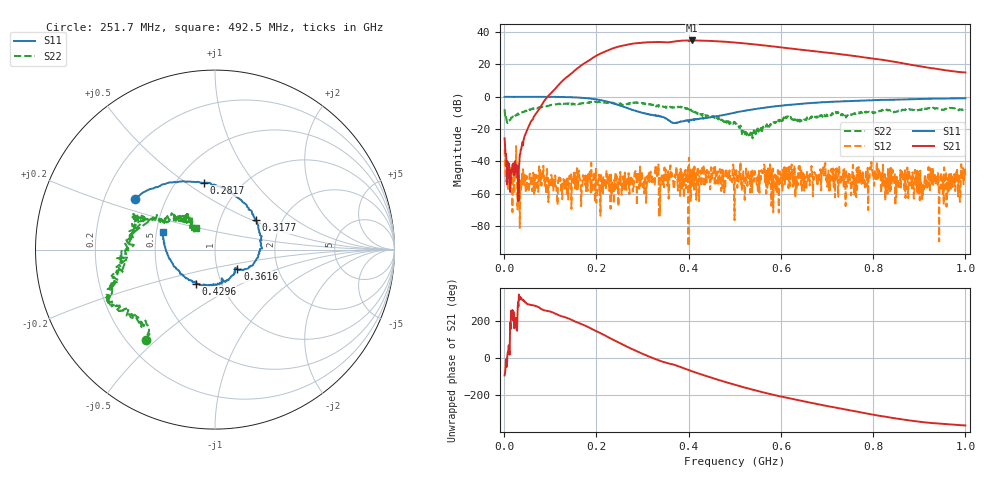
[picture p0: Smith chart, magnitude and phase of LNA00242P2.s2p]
! Created with skrf 1.9.0 (http://scikit-rf.org).
# Hz S RI R 50.0
!freq ReS11 ImS11 ReS21 ImS21 ReS12 ImS12 ReS22 ImS22
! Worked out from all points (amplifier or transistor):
!   1001 points, 1 MHz to 1 GHz, reference 50 ohm
!   highest |S21| = 34.9 dB at 406.6 MHz (marker M1)
!   |S21| within 3 dB of that: 260.5 MHz to 561.3 MHz (300.8 MHz wide, 73.2 % of centre)
!   unconditionally stable (mu >= 1): start of sweep to 75.72 MHz; 294.9 MHz to 400.5 MHz; 400.7 MHz to end of sweep (the widest 3 of 29)
!   at 166.8 MHz: K = 10.93, MAG = 30.1 dB, |S12| = -67.7 dB
!   at 500.5 MHz: K = 1.91, MAG = 34.2 dB, |S12| = -45.6 dB
!   at 1 GHz: K = 3.67, MAG = 23.6 dB, |S12| = -49.2 dB
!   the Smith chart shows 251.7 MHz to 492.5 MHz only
!   S11 on the Smith chart (normalised r, x): 251.7 MHz: 0.33, +0.26; 281.7 MHz: 0.68, +0.59; 317.7 MHz: 1.48, +0.53; 361.6 MHz: 1.25, -0.28; 429.6 MHz: 0.75, -0.30; 492.5 MHz: 0.54, +0.12
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1000000  0.9933 0.0162  -0.0026 -0.0519  -0.0226 0.0077  0.2923 0.2946
1.07893e8  0.5141 -0.8509  -0.7351 -1.418  0.00242 0.0008  0.4144 -0.3864
1.67833e8  -0.2647 -0.891  -9.508 -0.4591  -0.000356 -0.00102  0.0171 -0.6299
2.12788e8  -0.7085 -0.3037  -14.44 17.8  -0.00242 -0.000474  -0.2248 -0.6546
2.31769e8  -0.6568 0.0202  -7.382 28.91  -0.00327 -0.00207  -0.3087 -0.5723
2.51749e8  -0.444 0.2811  6.669 35.98  0.00197 -0.00432  -0.3826 -0.5014
2.81719e8  -0.0626 0.3722  32.1 30.55  -0.00276 -0.00116  -0.5725 -0.2895
3.17683e8  0.2287 0.1647  48.79 4.178  -0.0045 0.0017  -0.5762 -0.1459
3.34666e8  0.263 0.00687  48.52 -10.15  -0.00323 0.00737  -0.4897 -0.045
3.61639e8  0.1248 -0.108  42.18 -25.5  -0.0023 0.00183  -0.4762 0.0766
3.8062e8  0.1105 -0.1267  37.09 -38.99  -0.000965 0.00442  -0.4508 0.1772
4.06594e8  0.0158 -0.1892  19.03 -51.95  0.00203 0.000441  -0.3334 0.1623
4.29571e8  -0.1077 -0.1897  0.7647 -54.33  0.00245 0.00586  -0.1979 0.1585
4.55545e8  -0.2181 -0.1001  -18.26 -49.44  0.00711 0.000503  -0.1596 0.1954
4.92508e8  -0.2906 0.0969  -35.91 -33.03  0.00288 -0.00117  -0.1078 0.1187
5.005e8  -0.2876 0.1397  -38.6 -28.76  -0.00259 -0.00455  -0.1325 0.0958
5.36464e8  -0.216 0.3384  -41.7 -8.876  0.0037 -0.000139  -0.0733 0.0184
5.83417e8  -0.0066 0.4948  -34.35 10.63  -0.000246 0.000103  -0.1504 -0.0571
6.67333e8  0.4042 0.5014  -12.5 22.8  -0.00236 -0.00435  -0.2441 -0.0303
7.53247e8  0.6825 0.2859  4.042 18.29  -0.00078 -0.000977  -0.2781 0.0167
8.34166e8  0.8058 0.022  9.573 8.652  0.00139 -0.000213  -0.3861 0.0183
1e9  0.7357 -0.5217  5.651 -0.1576  -0.00119 0.00325  -0.2656 0.2969
